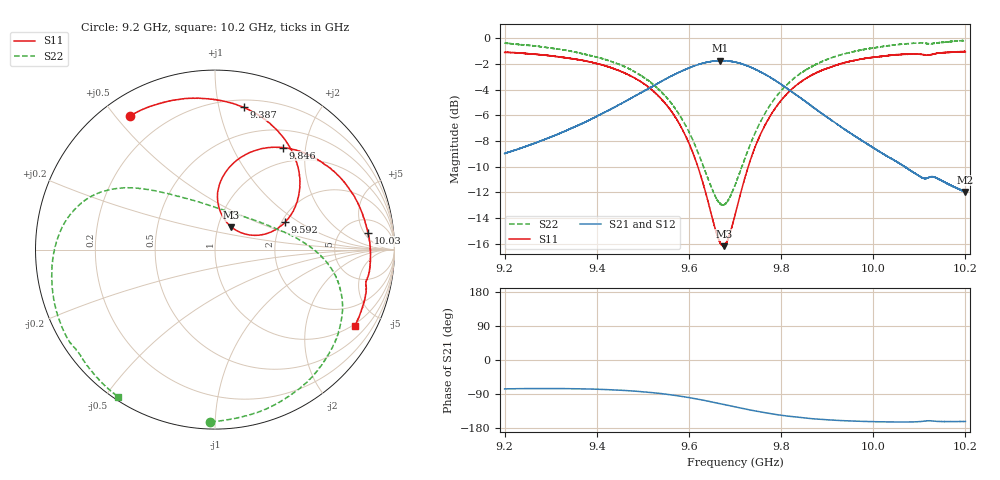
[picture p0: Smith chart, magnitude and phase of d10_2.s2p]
!Agilent Technologies,N5242A,MY51221714,A.09.90.19
!Agilent N5242A: A.09.90.19
!Date: Saturday, March 16, 2024 08:52:50
!Correction: S11(Full 2 Port(1,2))
!S21(Full 2 Port(1,2))
!S12(Full 2 Port(1,2))
!S22(Full 2 Port(1,2))
!S2P File: Measurements: S11, S21, S12, S22:
# Hz S  dB  R 50
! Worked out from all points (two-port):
!   16001 points, 9.2 GHz to 10.2 GHz, reference 50 ohm
!   highest |S21| = -1.73 dB at 9.668 GHz (marker M1); lowest = -12.0 dB at 10.2 GHz (marker M2)
!   |S21| within 3 dB of the highest: 9.471136 GHz to 9.47131 GHz (173.8 kHz wide, 0.00184 % of centre); 9.471 GHz to 9.845 GHz (374 MHz wide, 3.87 % of centre)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
!   lowest |S11| = -16.2 dB at 9.676 GHz (marker M3), VSWR 1.37, Z = 58.1 + j14.8 ohm
!   |S11| at or under -10 dB: 9.619 GHz to 9.729 GHz (109.6 MHz wide, 1.13 % of centre); 9.728866 GHz to 9.72888 GHz (14.49 kHz wide, 0.000149 % of centre)
!   |S22| runs from -13.0 to -0.2 dB; largest |S21 - S12| = 0.0086
!   S11 on the Smith chart (normalised r, x): 9.2 GHz: 0.08, +0.54; 9.387 GHz: 0.26, +1.19; 9.592 GHz: 2.09, +0.77; 9.846 GHz: 0.75, +1.60; 10.03 GHz: 9, +6; 10.2 GHz: 0.92, -3.70
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9.2e9  -1.10 122.7  -8.98 -76.2  -8.97 -76.7  -0.35 -91.5
9.277812e9  -1.28 105.0  -8.01 -75.3  -7.99 -75.8  -0.65 -70.0
9.366688e9  -1.70 83.8  -6.66 -76.2  -6.65 -76.6  -1.17 -46.6
9.38725e9  -1.84 78.6  -6.30 -76.7  -6.30 -77.2  -1.35 -41.2
9.460312e9  -2.71 59.0  -4.95 -80.4  -4.94 -80.9  -2.20 -23.7
9.499312e9  -3.47 47.8  -4.18 -83.9  -4.18 -84.3  -2.98 -14.8
9.533375e9  -4.47 37.6  -3.49 -87.8  -3.48 -88.2  -3.93 -7.3
9.592125e9  -7.54 21.3  -2.43 -97.6  -2.42 -98.1  -6.75 7.8
9.630938e9  -11.34 17.8  -1.93 -106.0  -1.93 -106.5  -9.95 25.8
9.668125e9  -15.98 42.7  -1.73 -115.3  -1.74 -115.7  -12.90 64.2
9.675625e9  -16.21 53.6  -1.76 -117.3  -1.74 -117.7  -12.99 74.9
9.7e9  -13.80 80.3  -1.85 -123.6  -1.84 -124.1  -11.47 105.0
9.72975e9  -9.90 87.3  -2.19 -131.2  -2.18 -131.7  -8.58 126.1
9.7615e9  -7.03 81.6  -2.74 -138.3  -2.72 -138.8  -6.08 137.7
9.80425e9  -4.66 69.2  -3.70 -146.4  -3.70 -146.9  -3.93 147.6
9.845938e9  -3.32 56.4  -4.75 -152.3  -4.74 -152.8  -2.64 155.5
9.866688e9  -2.87 50.1  -5.29 -154.8  -5.29 -155.2  -2.19 159.5
9.950625e9  -1.79 26.8  -7.40 -160.9  -7.40 -161.3  -1.09 176.7
1.003338e10  -1.34 6.5  -9.27 -163.3  -9.26 -163.7  -0.57 -164.5
1.003488e10  -1.32 6.2  -9.29 -163.3  -9.29 -163.8  -0.56 -164.2
1.010419e10  -1.24 -9.6  -10.83 -162.2  -10.84 -162.7  -0.36 -147.9
1.02e10  -1.04 -28.7  -11.98 -162.2  -11.97 -162.6  -0.17 -123.2
